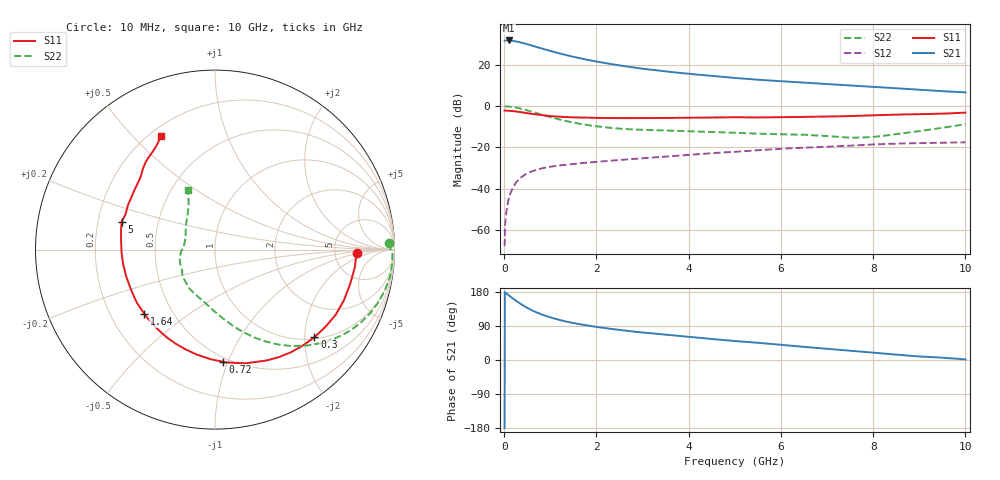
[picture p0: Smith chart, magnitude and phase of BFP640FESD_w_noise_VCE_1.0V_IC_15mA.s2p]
! Infineon Technologies  Discrete & RF Semiconductors
! BFP640FESD
! VCE =  1.0 V,  IC =  15 mA
! Common Emitter S-Parameters:  Jan 2016
# GHz  S  MA  R  50
!  f  S11  S21  S12  S22
! GHz  MAG  ANG  MAG  ANG  MAG  ANG  MAG  ANG
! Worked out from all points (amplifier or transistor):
!   233 points, 10 MHz to 10 GHz, reference 50 ohm
!   highest |S21| = 32.0 dB at 100 MHz (marker M1)
!   |S21| within 3 dB of that: start of sweep to 681.7 MHz
!   unconditionally stable (mu >= 1): 4.621 GHz to end of sweep
!   at 200 MHz: K = 0.07, MSG = 35.5 dB, |S12| = -39.2 dB
!   at 1.74 GHz: K = 0.64, MSG = 25.2 dB, |S12| = -27.5 dB
!   at 10 GHz: K = 1.12, MAG = 10.0 dB, |S12| = -17.5 dB
!   lowest NFmin = 0.78 dB at 450 MHz
!   S11 on the Smith chart (normalised r, x): 10 MHz: 8.40, -0.73; 300 MHz: 1.04, -2.23; 720 MHz: 0.47, -0.96; 1.64 GHz: 0.35, -0.35; 5 GHz: 0.30, +0.13; 10 GHz: 0.24, +0.61
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0.01  0.7888 -1.2  39.46 -179.8  0.0004 74.8  0.9687 2.1
0.02  0.7871 -3.1  39.61 178.4  0.0013 87.6  0.988 -1.5
0.1  0.7773 -14.1  39.76 171.0  0.0057 82.7  0.9861 -9.0
0.2  0.7643 -28.3  38.7 161.5  0.011 76.5  0.9559 -18.0
0.3  0.7383 -41.4  36.86 152.6  0.0159 70.5  0.91 -26.3
0.4  0.7115 -53.5  34.65 144.7  0.02 65.1  0.8544 -33.8
0.5  0.6822 -64.8  32.29 137.6  0.0235 60.8  0.7962 -40.6
0.6  0.6562 -74.9  29.96 131.2  0.0263 57.0  0.7379 -46.5
0.72  0.6267 -85.9  27.33 124.8  0.0292 53.4  0.6733 -52.7
0.9  0.5936 -100.0  23.85 116.4  0.0325 49.4  0.5884 -60.8
1.1  0.5676 -113.0  20.63 109.0  0.0354 46.6  0.5108 -68.4
1.4  0.5429 -128.4  16.93 100.0  0.0387 44.2  0.4237 -78.3
1.64  0.5325 -137.8  14.74 94.4  0.0412 43.5  0.3757 -85.0
1.68  0.5304 -139.3  14.43 93.6  0.0416 43.4  0.369 -86.1
1.96  0.5238 -147.8  12.48 88.1  0.0443 43.2  0.3311 -93.1
2.4  0.5163 -158.9  10.26 80.7  0.0487 43.1  0.2925 -103.7
3.4  0.5198 -177.1  7.235 68.0  0.0591 43.5  0.2605 -122.2
5  0.5429 163.3  4.889 50.0  0.0783 41.1  0.2278 -143.7
5.1  0.5412 162.4  4.791 49.2  0.0798 41.0  0.2254 -144.5
6.8  0.5589 143.1  3.571 31.6  0.1018 34.5  0.1945 -172.2
8.4  0.6239 128.0  2.784 15.1  0.123 26.5  0.2038 143.1
10  0.7018 115.2  2.177 1.6  0.1335 17.4  0.3666 114.3
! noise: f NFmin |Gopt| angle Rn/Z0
0.45  0.78  0.07  1  0.09
2.4  0.82  0.04  141  0.09
5.5  1.04  0.25  172  0.08
10  1.62  0.44  -113  0.24
